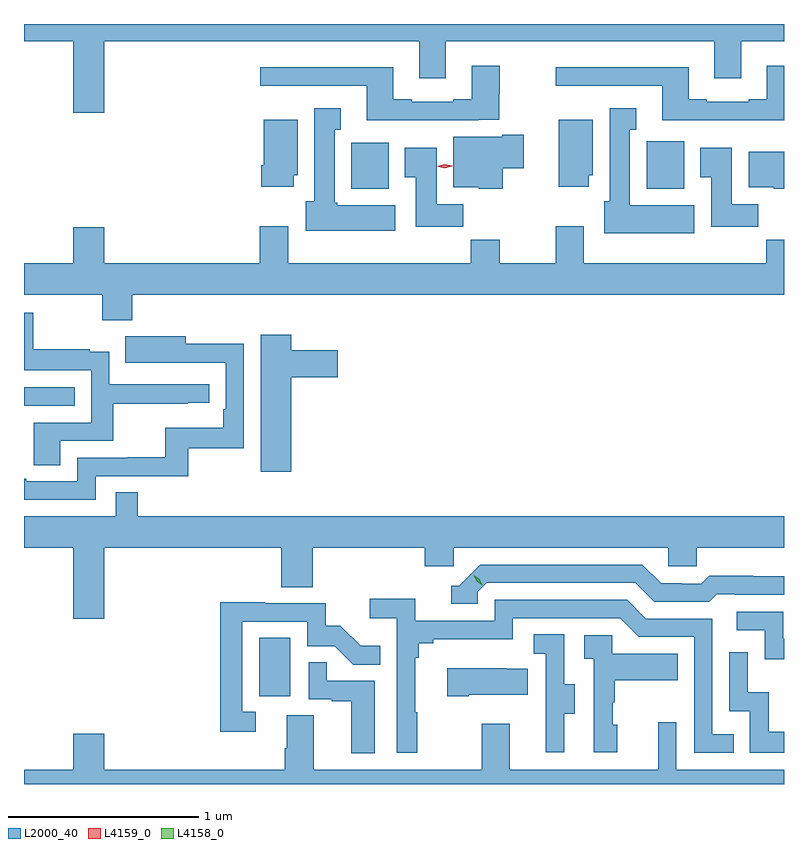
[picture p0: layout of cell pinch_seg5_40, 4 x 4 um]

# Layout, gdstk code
import gdstk
lib = gdstk.Library(unit=1e-6, precision=1e-09)
def R(c, l, rs):  # rectangles x0, y0, x1, y1
    for r in rs: c.add(gdstk.rectangle(r[:2], r[2:], *l))
def P(c, l, *ps):  # polygons
    for p in ps: c.add(gdstk.Polygon(p, *l))
L2000_40 = (2000, 40)
L4158_0 = (4158, 0)
L4159_0 = (4159, 0)

pinch_seg5_40 = lib.new_cell('pinch_seg5_40')
R(pinch_seg5_40, L2000_40, [(1113.038,894.606,1113.202,894.913), (1111.801,896.136,1112.069,896.232), (1113.524,897.278,1113.721,897.52), (1115.079,897.278,1115.275,897.528)])
P(pinch_seg5_40, L2000_40, [(1113.881,897.858),(1114.021,897.858),(1114.021,898.052),(1115.435,898.052),(1115.435,897.858),(1115.575,897.858),(1115.575,898.052),(1115.801,898.052),(1115.801,898.144),(1111.801,898.144),(1111.801,898.052),(1112.06,898.052),(1112.06,897.678),(1112.224,897.678),(1112.224,898.052),(1113.881,898.052)],
  [(1114.193,897.64),(1114.303,897.64),(1114.303,897.777),(1114.305,897.777),(1114.305,897.925),(1114.157,897.925),(1114.157,897.748),(1114.061,897.748),(1114.061,897.735),(1113.841,897.735),(1113.841,897.748),(1113.745,897.748),(1113.745,897.916),(1113.045,897.916),(1113.045,897.819),(1113.605,897.819),(1113.605,897.638),(1114.193,897.638)],
  [(1115.801,897.925),(1115.711,897.925),(1115.711,897.748),(1115.615,897.748),(1115.615,897.735),(1115.395,897.735),(1115.395,897.748),(1115.299,897.748),(1115.299,897.916),(1114.599,897.916),(1114.599,897.819),(1115.159,897.819),(1115.159,897.638),(1115.801,897.638)],
  [(1115.329,897.19),(1114.99,897.19),(1114.99,897.587),(1115.023,897.587),(1115.023,897.7),(1114.883,897.7),(1114.883,897.21),(1114.856,897.21),(1114.856,897.044),(1115.329,897.044)],
  [(1113.754,897.19),(1113.45,897.19),(1113.45,897.204),(1113.436,897.204),(1113.436,897.587),(1113.469,897.587),(1113.469,897.7),(1113.329,897.7),(1113.329,897.21),(1113.284,897.21),(1113.284,897.056),(1113.754,897.056)],
  [(1114.774,897.348),(1114.795,897.348),(1114.795,897.64),(1114.616,897.64),(1114.616,897.288),(1114.774,897.288)],
  [(1113.22,897.348),(1113.241,897.348),(1113.241,897.64),(1113.062,897.64),(1113.062,897.4),(1113.05,897.4),(1113.05,897.288),(1113.22,897.288)],
  [(1114.32,897.385),(1114.432,897.385),(1114.432,897.56),(1114.319,897.56),(1114.319,897.55),(1114.061,897.55),(1114.061,897.284),(1114.194,897.284),(1114.194,897.278),(1114.32,897.278)],
  [(1114.112,897.196),(1113.973,897.196),(1113.973,897.493),(1113.806,897.493),(1113.806,897.337),(1113.863,897.337),(1113.863,897.078),(1114.112,897.078)],
  [(1115.666,897.196),(1115.527,897.196),(1115.527,897.493),(1115.36,897.493),(1115.36,897.337),(1115.417,897.337),(1115.417,897.078),(1115.666,897.078)],
  [(1115.801,897.472),(1115.615,897.472),(1115.615,897.284),(1115.748,897.284),(1115.748,897.278),(1115.801,897.278)],
  [(1112.372,896.72),(1115.801,896.72),(1115.801,897.008),(1115.707,897.008),(1115.707,896.884),(1114.747,896.884),(1114.747,897.079),(1114.6,897.079),(1114.6,896.884),(1114.305,896.884),(1114.305,897.008),(1114.153,897.008),(1114.153,896.884),(1113.193,896.884),(1113.193,897.079),(1113.041,897.079),(1113.041,896.884),(1112.224,896.884),(1112.224,897.073),(1112.06,897.073),(1112.06,896.884),(1111.801,896.884),(1111.801,896.72),(1112.212,896.72),(1112.212,896.585),(1112.372,896.585)],
  [(1111.993,895.95),(1112.27,895.95),(1112.27,896.146),(1112.663,896.146),(1112.663,896.151),(1112.776,896.151),(1112.776,896.247),(1112.25,896.247),(1112.25,896.419),(1112.147,896.419),(1112.147,896.431),(1111.849,896.431),(1111.849,896.625),(1111.801,896.625),(1111.801,896.322),(1112.154,896.322),(1112.154,896.046),(1111.853,896.046),(1111.853,895.822),(1111.993,895.822)],
  [(1113.208,896.285),(1113.451,896.285),(1113.451,896.427),(1113.208,896.427),(1113.208,896.509),(1113.047,896.509),(1113.047,895.788),(1113.208,895.788)],
  [(1112.178,895.764),(1112.665,895.764),(1112.665,895.911),(1112.958,895.911),(1112.958,896.462),(1112.653,896.462),(1112.653,896.5),(1112.335,896.5),(1112.335,896.36),(1112.549,896.36),(1112.549,896.361),(1112.862,896.361),(1112.862,896.116),(1112.849,896.116),(1112.849,896.02),(1112.544,896.02),(1112.544,895.865),(1112.347,895.865),(1112.347,895.86),(1112.082,895.86),(1112.082,895.737),(1111.813,895.737),(1111.813,895.75),(1111.801,895.75),(1111.801,895.641),(1112.178,895.641)],
  [(1112.224,895.388),(1113.155,895.388),(1113.155,895.18),(1113.32,895.18),(1113.32,895.388),(1113.911,895.388),(1113.911,895.29),(1114.062,895.29),(1114.062,895.388),(1115.193,895.388),(1115.193,895.29),(1115.343,895.29),(1115.343,895.388),(1115.801,895.388),(1115.801,895.552),(1112.399,895.552),(1112.399,895.679),(1112.283,895.679),(1112.283,895.552),(1111.801,895.552),(1111.801,895.388),(1112.06,895.388),(1112.06,895.014),(1112.224,895.014)],
  [(1114.188,895.155),(1114.236,895.203),(1115.019,895.203),(1115.118,895.104),(1115.407,895.104),(1115.446,895.143),(1115.545,895.143),(1115.545,895.14),(1115.801,895.14),(1115.801,895.237),(1115.64,895.237),(1115.64,895.24),(1115.407,895.24),(1115.365,895.197),(1115.262,895.197),(1115.262,895.2),(1115.155,895.2),(1115.056,895.299),(1114.203,895.299),(1114.092,895.188),(1114.049,895.188),(1114.049,895.092),(1114.188,895.092)],
  [(1113.871,894.521),(1113.859,894.521),(1113.859,894.809),(1113.878,894.809),(1113.878,894.886),(1113.955,894.886),(1113.955,894.905),(1114.374,894.905),(1114.374,895.017),(1114.938,895.017),(1115.037,894.918),(1115.328,894.918),(1115.328,894.309),(1115.537,894.309),(1115.537,894.405),(1115.424,894.405),(1115.424,895.014),(1115.074,895.014),(1114.975,895.113),(1114.278,895.113),(1114.278,895.002),(1113.86,895.002),(1113.86,895.118),(1113.621,895.118),(1113.621,895.016),(1113.762,895.016),(1113.762,894.309),(1113.871,894.309)],
  [(1113.022,894.525),(1112.949,894.525),(1112.949,894.999),(1113.291,894.999),(1113.291,894.87),(1113.436,894.87),(1113.534,894.772),(1113.677,894.772),(1113.677,894.871),(1113.573,894.871),(1113.466,894.978),(1113.39,894.978),(1113.39,895.095),(1113.071,895.095),(1113.071,895.1),(1112.833,895.1),(1112.833,894.42),(1113.022,894.42)],
  [(1115.801,894.909),(1115.796,894.909),(1115.796,895.05),(1115.553,895.05),(1115.553,894.954),(1115.7,894.954),(1115.7,894.801),(1115.801,894.801)],
  [(1114.645,894.514),(1114.699,894.514),(1114.699,894.669),(1114.644,894.669),(1114.644,894.932),(1114.485,894.932),(1114.485,894.829),(1114.548,894.829),(1114.548,894.525),(1114.547,894.525),(1114.547,894.312),(1114.645,894.312)],
  [(1114.924,894.456),(1114.899,894.456),(1114.899,894.575),(1114.909,894.575),(1114.909,894.689),(1115.243,894.689),(1115.243,894.829),(1114.896,894.829),(1114.896,894.927),(1114.749,894.927),(1114.749,894.803),(1114.8,894.803),(1114.8,894.312),(1114.924,894.312)],
  [(1115.801,894.418),(1115.72,894.418),(1115.72,894.626),(1115.61,894.626),(1115.61,894.838),(1115.514,894.838),(1115.514,894.528),(1115.622,894.528),(1115.622,894.309),(1115.801,894.309)],
  [(1113.646,894.687),(1113.395,894.687),(1113.395,894.785),(1113.3,894.785),(1113.3,894.591),(1113.421,894.591),(1113.421,894.579),(1113.524,894.579),(1113.524,894.305),(1113.646,894.305)],
  [(1114.141,894.614),(1114.451,894.614),(1114.451,894.751),(1114.343,894.751),(1114.343,894.754),(1114.029,894.754),(1114.029,894.607),(1114.141,894.607)],
  [(1115.801,894.22),(1115.235,894.22),(1115.235,894.469),(1115.138,894.469),(1115.138,894.22),(1114.357,894.22),(1114.357,894.46),(1114.21,894.46),(1114.21,894.22),(1113.325,894.22),(1113.325,894.506),(1113.185,894.506),(1113.185,894.332),(1113.173,894.332),(1113.173,894.22),(1112.224,894.22),(1112.224,894.409),(1112.06,894.409),(1112.06,894.22),(1111.801,894.22),(1111.801,894.144),(1115.801,894.144)])
P(pinch_seg5_40, L4158_0, [(1114.214,895.191),(1114.183,895.21),(1114.167,895.243),(1114.167,895.243),(1114.168,895.243),(1114.198,895.224),(1114.214,895.191),(1114.214,895.191)])
P(pinch_seg5_40, L4159_0, [(1114.015,897.386),(1113.974,897.396),(1113.974,897.396),(1113.974,897.396),(1114.015,897.406),(1114.056,897.397),(1114.056,897.397),(1114.056,897.396)])

lib.write_gds('pinch_seg5_40.gds')
